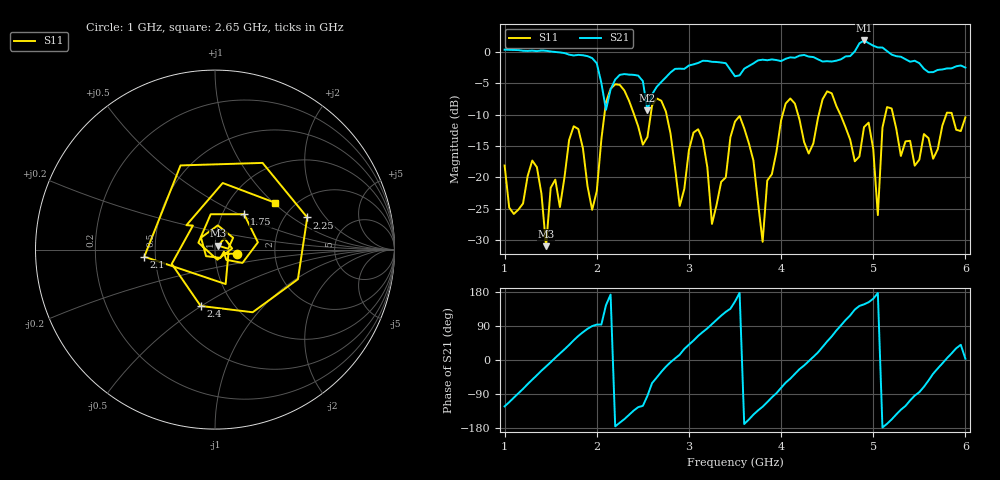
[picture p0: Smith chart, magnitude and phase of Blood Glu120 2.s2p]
! NanoVNA-App
! Date: 2024-03-20 23:43:21
! Start: 1GHz Stop: 6GHz Points: 101
! S-Parameter data: F S11 S21 S12 S22
# Hz S RI R 50
!	Frequency	S11_Real	S11_Imag	S21_Real	S21_Imag	S12_Real	S12_Imag	S22_Real	S22_Imag
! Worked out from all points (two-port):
!   101 points, 1 GHz to 6 GHz, reference 50 ohm
!   highest |S21| = 1.80 dB at 4.9 GHz (marker M1); lowest = -9.3 dB at 2.55 GHz (marker M2)
!   |S21| within 3 dB of the highest: start of sweep to 1.961 GHz; 4.651 GHz to 5.352 GHz (700.7 MHz wide, 14 % of centre) (the widest 2 of 3)
!   lowest |S11| = -31.0 dB at 1.45 GHz (marker M3), VSWR 1.06, Z = 51.8 + j2.26 ohm
!   |S11| at or under -10 dB: start of sweep to 2.083 GHz; 2.757 GHz to 4.017 GHz (1.26 GHz wide, 37.2 % of centre); 5.215 GHz to 5.793 GHz (577.9 MHz wide, 10.5 % of centre) (the widest 3 of 7)
!   S12 and S22 are empty: the file has one direction only
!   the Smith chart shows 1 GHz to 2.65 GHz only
!   S11 on the Smith chart (normalised r, x): 1 GHz: 1.28, -0.06; 1.75 GHz: 1.26, +0.53; 2.1 GHz: 0.43, -0.04; 2.25 GHz: 2.62, +1.33; 2.4 GHz: 0.71, -0.50; 2.65 GHz: 1.61, +1.02
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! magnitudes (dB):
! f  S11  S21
! 1 GHz  -18.1  0.3
! 1.45 GHz  -31.0  0.2
! 1.75 GHz  -11.9  -0.6
! 1.85 GHz  -15.4  -0.6
! 1.95 GHz  -25.2  -1.0
! 2.1 GHz  -8.0  -9.3
! 2.25 GHz  -5.3  -3.7
! 2.4 GHz  -9.8  -3.7
! 2.55 GHz  -13.6  -9.3
! 2.65 GHz  -7.4  -5.6
! 2.7 GHz  -7.8  -4.8
! 2.9 GHz  -24.6  -2.7
! 3.15 GHz  -14.0  -1.4
! 3.25 GHz  -27.4  -1.6
! 3.5 GHz  -11.1  -3.9
! 3.8 GHz  -30.3  -1.3
! 4.05 GHz  -8.2  -1.1
! 4.35 GHz  -14.6  -0.8
! 4.9 GHz  -12.0  1.8
! 5.05 GHz  -26.0  0.7
! 5.2 GHz  -9.0  -0.5
! 6 GHz  -10.4  -2.5
